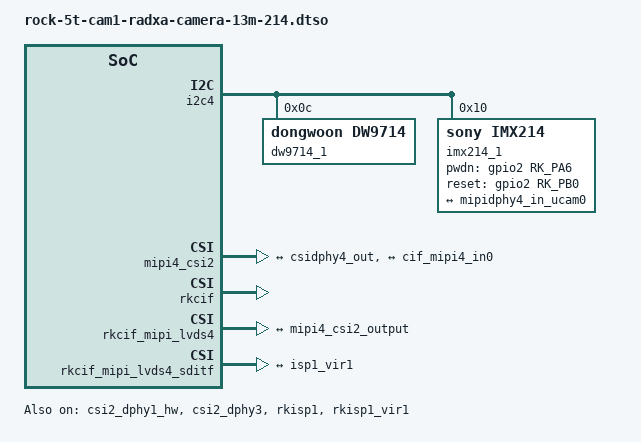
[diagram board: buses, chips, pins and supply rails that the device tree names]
/dts-v1/;
/plugin/;

#include <dt-bindings/clock/rk3588-cru.h>
#include <dt-bindings/power/rk3588-power.h>
#include <dt-bindings/gpio/gpio.h>
#include <dt-bindings/pinctrl/rockchip.h>

/ {
	metadata {
		title ="Enable Radxa Camera 13M 214 on CAM1";
		compatible = "radxa,rock-5t";
		category = "camera";
		exclusive = "GPIO2_A6", "GPIO2_B0", "csi2_dphy1", "i2c4";
		description = "Enable Radxa Camera 13M 214 on CAM1.";
	};
};

&i2c4 {
	status = "okay";
	#address-cells = <1>;
	#size-cells = <0>;

	dw9714_1: dw9714-1@c {
		compatible = "dongwoon,dw9714";
		status = "okay";
		reg = <0x0c>;
		rockchip,vcm-start-current = <10>;
		rockchip,vcm-rated-current = <85>;
		rockchip,vcm-step-mode = <3>;
		rockchip,camera-module-index = <0>;
		rockchip,camera-module-facing = "back";
	};

	imx214_1: imx214-1@10 {
		status = "okay";
		compatible = "sony,imx214";
		reg = <0x10>;
		clocks = <&cru CLK_MIPI_CAMARAOUT_M4>;
		clock-names = "xvclk";
		pinctrl-names = "default";
		pinctrl-0 = <&mipim0_camera4_clk>;
		power-domains = <&power RK3588_PD_VI>;
		pwdn-gpios = <&gpio2 RK_PA6 GPIO_ACTIVE_HIGH>;
		reset-gpios = <&gpio2 RK_PB0 GPIO_ACTIVE_HIGH>;
		rockchip,camera-module-index = <1>;
		rockchip,camera-module-facing = "back";
		rockchip,camera-module-name = "RADXA-CAMERA-13M";
		rockchip,camera-module-lens-name = "DEFAULT";
		lens-focus = <&dw9714_1>;
		port {
			imx214_1_out4: endpoint {
				remote-endpoint = <&mipidphy4_in_ucam0>;
				data-lanes = <1 2 3 4>;
			};
		};
	};
};

&csi2_dphy1_hw {
	status = "okay";
};

&csi2_dphy3 {
	status = "okay";

	ports {
		#address-cells = <1>;
		#size-cells = <0>;

		port@0 {
			reg = <0>;
			#address-cells = <1>;
			#size-cells = <0>;

			mipidphy4_in_ucam0: endpoint@1 {
				reg = <1>;
				remote-endpoint = <&imx214_1_out4>;
				data-lanes = <1 2 3 4>;
			};
		};

		port@1 {
			reg = <1>;
			#address-cells = <1>;
			#size-cells = <0>;

			csidphy4_out: endpoint@0 {
				reg = <0>;
				remote-endpoint = <&mipi4_csi2_input>;
			};
		};
	};
};

&mipi4_csi2 {
	status = "okay";

	ports {
		#address-cells = <1>;
		#size-cells = <0>;

		port@0 {
			reg = <0>;
			#address-cells = <1>;
			#size-cells = <0>;

			mipi4_csi2_input: endpoint@1 {
				reg = <1>;
				remote-endpoint = <&csidphy4_out>;
			};
		};

		port@1 {
			reg = <1>;
			#address-cells = <1>;
			#size-cells = <0>;

			mipi4_csi2_output: endpoint@0 {
				reg = <0>;
				remote-endpoint = <&cif_mipi4_in0>;
			};
		};
	};
};

&rkcif {
	status = "okay";
};

&rkcif_mipi_lvds4 {
	status = "okay";

	port {
		cif_mipi4_in0: endpoint {
			remote-endpoint = <&mipi4_csi2_output>;
		};
	};
};

&rkcif_mipi_lvds4_sditf {
	status = "okay";

	port {
		mipi_lvds4_sditf: endpoint {
			remote-endpoint = <&isp1_vir1>;
		};
	};
};

&rkcif_mmu {
	status = "okay";
};

&isp1_mmu {
	status = "okay";
};

&rkisp1 {
	status = "okay";
};

&rkisp1_vir1 {
	status = "okay";

	port {
		#address-cells = <1>;
		#size-cells = <0>;

		isp1_vir1: endpoint@0 {
			reg = <0>;
			remote-endpoint = <&mipi_lvds4_sditf>;
		};
	};
};
